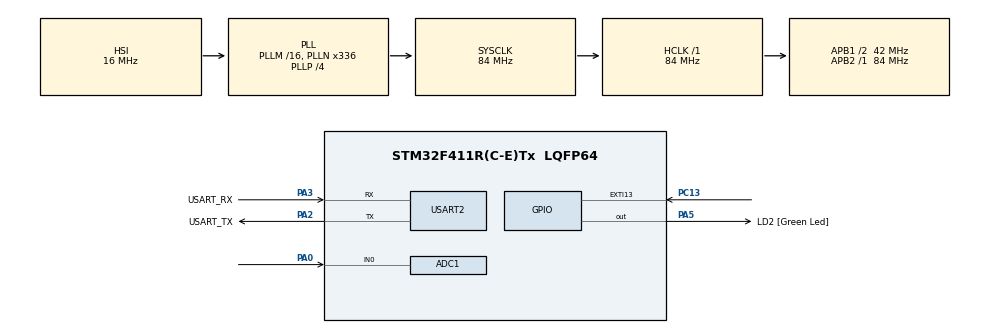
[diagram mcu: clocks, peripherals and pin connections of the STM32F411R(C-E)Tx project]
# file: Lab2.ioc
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ADC1.Channel-0\#ChannelRegularConversion=ADC_CHANNEL_0
ADC1.Channel-1\#ChannelRegularConversion=ADC_CHANNEL_TEMPSENSOR
ADC1.ContinuousConvMode=ENABLE
ADC1.DMAContinuousRequests=ENABLE
ADC1.NbrOfConversion=2
ADC1.NbrOfConversionFlag=1
ADC1.Rank-0\#ChannelRegularConversion=1
ADC1.Rank-1\#ChannelRegularConversion=2
ADC1.SamplingTime-0\#ChannelRegularConversion=ADC_SAMPLETIME_3CYCLES
ADC1.SamplingTime-1\#ChannelRegularConversion=ADC_SAMPLETIME_3CYCLES
ADC1.master=1
Dma.ADC1.0.Direction=DMA_PERIPH_TO_MEMORY
Dma.ADC1.0.FIFOMode=DMA_FIFOMODE_DISABLE
Dma.ADC1.0.Instance=DMA2_Stream0
Dma.ADC1.0.MemDataAlignment=DMA_MDATAALIGN_HALFWORD
Dma.ADC1.0.MemInc=DMA_MINC_ENABLE
Dma.ADC1.0.Mode=DMA_CIRCULAR
Dma.ADC1.0.PeriphDataAlignment=DMA_PDATAALIGN_HALFWORD
Dma.ADC1.0.PeriphInc=DMA_PINC_DISABLE
Dma.ADC1.0.Priority=DMA_PRIORITY_LOW
Dma.Request0=ADC1
Mcu.Family=STM32F4
Mcu.Name=STM32F411R(C-E)Tx
Mcu.Package=LQFP64
NVIC.ADC_IRQn=true\:0\:0\:false\:false\:true\:true\:true\:true
NVIC.DMA2_Stream0_IRQn=true\:0\:0\:false\:false\:true\:false\:true\:true
NVIC.EXTI15_10_IRQn=true\:0\:0\:false\:false\:true\:true\:true\:true
NVIC.PriorityGroup=NVIC_PRIORITYGROUP_0
PA0-WKUP.Signal=ADCx_IN0
PA13.GPIO_Label=TMS
PA13.Mode=Serial_Wire
PA13.Signal=SYS_JTMS-SWDIO
PA14.GPIO_Label=TCK
PA14.Mode=Serial_Wire
PA14.Signal=SYS_JTCK-SWCLK
PA2.GPIO_Label=USART_TX
PA2.Mode=Asynchronous
PA2.Signal=USART2_TX
PA3.GPIO_Label=USART_RX
PA3.Mode=Asynchronous
PA3.Signal=USART2_RX
PA5.GPIO_Label=LD2 [Green Led]
PA5.Signal=GPIO_Output
PB3.GPIO_Label=SWO
PB3.Signal=SYS_JTDO-SWO
PC13-ANTI_TAMP.GPIO_ModeDefaultEXTI=GPIO_MODE_IT_FALLING
PC13-ANTI_TAMP.Signal=GPXTI13
PC14-OSC32_IN.Mode=LSE-External-Oscillator
PC14-OSC32_IN.Signal=RCC_OSC32_IN
PC15-OSC32_OUT.Mode=LSE-External-Oscillator
PC15-OSC32_OUT.Signal=RCC_OSC32_OUT
PH0\ -\ OSC_IN.Mode=HSE-External-Clock-Source
PH0\ -\ OSC_IN.Signal=RCC_OSC_IN
PH1\ -\ OSC_OUT.Mode=HSE-External-Clock-Source
PH1\ -\ OSC_OUT.Signal=RCC_OSC_OUT
ProjectManager.HeapSize=0x200
ProjectManager.StackSize=0x400
ProjectManager.TargetToolchain=STM32CubeIDE
RCC.48MHZClocksFreq_Value=84000000
RCC.AHBFreq_Value=84000000
RCC.APB1CLKDivider=RCC_HCLK_DIV2
RCC.APB1Freq_Value=42000000
RCC.APB1TimFreq_Value=84000000
RCC.APB2Freq_Value=84000000
RCC.APB2TimFreq_Value=84000000
RCC.CortexFreq_Value=84000000
RCC.FLatency-AdvancedSettings=FLASH_LATENCY_2
RCC.HCLKFreq_Value=84000000
RCC.HSE_VALUE=8000000
RCC.HSI_VALUE=16000000
RCC.PLLN=336
RCC.PLLP=RCC_PLLP_DIV4
RCC.SYSCLKFreq_VALUE=84000000
RCC.SYSCLKSource=RCC_SYSCLKSOURCE_PLLCLK
RCC.VCOOutputFreq_Value=336000000
SH.ADCx_IN0.0=ADC1_IN0,IN0
USART2.VirtualMode=VM_ASYNC
VP_ADC1_TempSens_Input.Mode=IN-TempSens
board=NUCLEO-F411RE

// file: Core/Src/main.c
/* USER CODE BEGIN Header */
/**
  ******************************************************************************
  * @file           : main.c
  * @brief          : Main program body
  ******************************************************************************
  * @attention
  *
  * Copyright (c) 2023 STMicroelectronics.
  * All rights reserved.
  *
  * This software is licensed under terms that can be found in the LICENSE file
  * in the root directory of this software component.
  * If no LICENSE file comes with this software, it is provided AS-IS.
  *
  ******************************************************************************
  */
/* USER CODE END Header */
#include "main.h"

ADC_HandleTypeDef hadc1;
DMA_HandleTypeDef hdma_adc1;

UART_HandleTypeDef huart2;

/* USER CODE BEGIN PV */
uint16_t adcRawData[20];
float V;
float T;
uint16_t sum_V;
uint16_t sum_T;
float avg_V;
float avg_T;
uint32_t timestamp = 0;
float bit = 3300.0/4096.0;
typedef union
{
	struct
	{
		uint16_t ADC_IN0;
		uint16_t Temp;
	}subData;
	uint16_t buffer[2];
}DMA_ADC_BufferType;

DMA_ADC_BufferType buffer[10];
/* USER CODE END PV */

void SystemClock_Config(void);
static void MX_GPIO_Init(void);
static void MX_DMA_Init(void);
static void MX_USART2_UART_Init(void);
static void MX_ADC1_Init(void);

int main(void)
{

  /* MCU Configuration--------------------------------------------------------*/

  /* Reset of all peripherals, Initializes the Flash interface and the Systick. */
  HAL_Init();

  /* Configure the system clock */
  SystemClock_Config();

  /* Initialize all configured peripherals */
  MX_GPIO_Init();
  MX_DMA_Init();
  MX_USART2_UART_Init();
  MX_ADC1_Init();
  /* USER CODE BEGIN 2 */
  //HAL_ADC_Start_DMA(&hadc1, buffer, 20);
  /* USER CODE END 2 */

  /* Infinite loop */
  while (1)
  {

    /* USER CODE BEGIN 3 */
	  //HAL_Delay(10000);
	  if(HAL_GetTick() >= timestamp)
	  {
		  timestamp = HAL_GetTick() +1000;
		  register int i;
		  for (i = 0; i < 10; i++){
			  //sum_V += adcRawData[i*2];  // sum V
			  //sum_T += adcRawData[(i*2)+1]; // sum T
			  sum_V += buffer[i].subData.ADC_IN0;  // sum V
		  	  sum_T += buffer[i].subData.Temp; // sum T
		  }
		  avg_V = sum_V/10.0 ;
		  avg_T = sum_T/10.0 ;
		  V = (avg_V* bit)*2.0;
		  T = (((avg_T* bit)-760)/25.0)+273.15;
		  sum_V = 0;
		  sum_T = 0;

	  }
  }
  /* USER CODE END 3 */
}

void SystemClock_Config(void)
{
  RCC_OscInitTypeDef RCC_OscInitStruct = {0};
  RCC_ClkInitTypeDef RCC_ClkInitStruct = {0};

  /** Configure the main internal regulator output voltage
  */
  __HAL_RCC_PWR_CLK_ENABLE();
  __HAL_PWR_VOLTAGESCALING_CONFIG(PWR_REGULATOR_VOLTAGE_SCALE1);

  /** Initializes the RCC Oscillators according to the specified parameters
  * in the RCC_OscInitTypeDef structure.
  */
  RCC_OscInitStruct.OscillatorType = RCC_OSCILLATORTYPE_HSI;
  RCC_OscInitStruct.HSIState = RCC_HSI_ON;
  RCC_OscInitStruct.HSICalibrationValue = RCC_HSICALIBRATION_DEFAULT;
  RCC_OscInitStruct.PLL.PLLState = RCC_PLL_ON;
  RCC_OscInitStruct.PLL.PLLSource = RCC_PLLSOURCE_HSI;
  RCC_OscInitStruct.PLL.PLLM = 16;
  RCC_OscInitStruct.PLL.PLLN = 336;
  RCC_OscInitStruct.PLL.PLLP = RCC_PLLP_DIV4;
  RCC_OscInitStruct.PLL.PLLQ = 4;
  if (HAL_RCC_OscConfig(&RCC_OscInitStruct) != HAL_OK)
  {
    Error_Handler();
  }

  /** Initializes the CPU, AHB and APB buses clocks
  */
  RCC_ClkInitStruct.ClockType = RCC_CLOCKTYPE_HCLK|RCC_CLOCKTYPE_SYSCLK
                              |RCC_CLOCKTYPE_PCLK1|RCC_CLOCKTYPE_PCLK2;
  RCC_ClkInitStruct.SYSCLKSource = RCC_SYSCLKSOURCE_PLLCLK;
  RCC_ClkInitStruct.AHBCLKDivider = RCC_SYSCLK_DIV1;
  RCC_ClkInitStruct.APB1CLKDivider = RCC_HCLK_DIV2;
  RCC_ClkInitStruct.APB2CLKDivider = RCC_HCLK_DIV1;

  if (HAL_RCC_ClockConfig(&RCC_ClkInitStruct, FLASH_LATENCY_2) != HAL_OK)
  {
    Error_Handler();
  }
}

static void MX_ADC1_Init(void)
{

  ADC_ChannelConfTypeDef sConfig = {0};

  /** Configure the global features of the ADC (Clock, Resolution, Data Alignment and number of conversion)
  */
  hadc1.Instance = ADC1;
  hadc1.Init.ClockPrescaler = ADC_CLOCK_SYNC_PCLK_DIV4;
  hadc1.Init.Resolution = ADC_RESOLUTION_12B;
  hadc1.Init.ScanConvMode = ENABLE;
  hadc1.Init.ContinuousConvMode = ENABLE;
  hadc1.Init.DiscontinuousConvMode = DISABLE;
  hadc1.Init.ExternalTrigConvEdge = ADC_EXTERNALTRIGCONVEDGE_NONE;
  hadc1.Init.ExternalTrigConv = ADC_SOFTWARE_START;
  hadc1.Init.DataAlign = ADC_DATAALIGN_RIGHT;
  hadc1.Init.NbrOfConversion = 2;
  hadc1.Init.DMAContinuousRequests = ENABLE;
  hadc1.Init.EOCSelection = ADC_EOC_SINGLE_CONV;
  if (HAL_ADC_Init(&hadc1) != HAL_OK)
  {
    Error_Handler();
  }

  /** Configure for the selected ADC regular channel its corresponding rank in the sequencer and its sample time.
  */
  sConfig.Channel = ADC_CHANNEL_0;
  sConfig.Rank = 1;
  sConfig.SamplingTime = ADC_SAMPLETIME_3CYCLES;
  if (HAL_ADC_ConfigChannel(&hadc1, &sConfig) != HAL_OK)
  {
    Error_Handler();
  }

  /** Configure for the selected ADC regular channel its corresponding rank in the sequencer and its sample time.
  */
  sConfig.Channel = ADC_CHANNEL_TEMPSENSOR;
  sConfig.Rank = 2;
  if (HAL_ADC_ConfigChannel(&hadc1, &sConfig) != HAL_OK)
  {
    Error_Handler();
  }

}

static void MX_USART2_UART_Init(void)
{

  huart2.Instance = USART2;
  huart2.Init.BaudRate = 115200;
  huart2.Init.WordLength = UART_WORDLENGTH_8B;
  huart2.Init.StopBits = UART_STOPBITS_1;
  huart2.Init.Parity = UART_PARITY_NONE;
  huart2.Init.Mode = UART_MODE_TX_RX;
  huart2.Init.HwFlowCtl = UART_HWCONTROL_NONE;
  huart2.Init.OverSampling = UART_OVERSAMPLING_16;
  if (HAL_UART_Init(&huart2) != HAL_OK)
  {
    Error_Handler();
  }

}

static void MX_DMA_Init(void)
{

  /* DMA controller clock enable */
  __HAL_RCC_DMA2_CLK_ENABLE();

  /* DMA interrupt init */
  /* DMA2_Stream0_IRQn interrupt configuration */
  HAL_NVIC_SetPriority(DMA2_Stream0_IRQn, 0, 0);
  HAL_NVIC_EnableIRQ(DMA2_Stream0_IRQn);

}

static void MX_GPIO_Init(void)
{
  GPIO_InitTypeDef GPIO_InitStruct = {0};

  /* GPIO Ports Clock Enable */
  __HAL_RCC_GPIOC_CLK_ENABLE();
  __HAL_RCC_GPIOH_CLK_ENABLE();
  __HAL_RCC_GPIOA_CLK_ENABLE();
  __HAL_RCC_GPIOB_CLK_ENABLE();

  /*Configure GPIO pin Output Level */
  HAL_GPIO_WritePin(LD2_GPIO_Port, LD2_Pin, GPIO_PIN_RESET);

  /*Configure GPIO pin : PC13 */
  GPIO_InitStruct.Pin = GPIO_PIN_13;
  GPIO_InitStruct.Mode = GPIO_MODE_IT_FALLING;
  GPIO_InitStruct.Pull = GPIO_NOPULL;
  HAL_GPIO_Init(GPIOC, &GPIO_InitStruct);

  /*Configure GPIO pin : LD2_Pin */
  GPIO_InitStruct.Pin = LD2_Pin;
  GPIO_InitStruct.Mode = GPIO_MODE_OUTPUT_PP;
  GPIO_InitStruct.Pull = GPIO_NOPULL;
  GPIO_InitStruct.Speed = GPIO_SPEED_FREQ_LOW;
  HAL_GPIO_Init(LD2_GPIO_Port, &GPIO_InitStruct);

  /* EXTI interrupt init*/
  HAL_NVIC_SetPriority(EXTI15_10_IRQn, 0, 0);
  HAL_NVIC_EnableIRQ(EXTI15_10_IRQn);

}

/* USER CODE BEGIN 4 */
void HAL_GPIO_EXTI_Callback(uint16_t GPIO_Pin)
{
	if(GPIO_Pin == GPIO_PIN_13)
	{
		//HAL_ADC_Start_DMA(&hadc1, adcRawData, 20);
		HAL_ADC_Start_DMA(&hadc1, (uint32_t*)buffer, 20);
	}

}
//void HAL_ADC_ConvCpltCallback(ADC_HandleTypeDef* hadc)
//{
//	//buffer[1].subData.ADC_IN0 = buffer[1].buffer[0]-500;
//	//buffer[1].subData.Temp = buffer[1].buffer[1]-500;
//	output_V = buffer[1].buffer[0];
//	output_T = buffer[1].buffer[1];
//	//adcRawData = HAL_ADC_GetValue(&hadc1);
//	//HAL_ADC_Start_DMA(&hadc1, adcRawData, 20);
//}
/* USER CODE END 4 */

void Error_Handler(void)
{
  __disable_irq();
  while (1)
  {
  }
}
